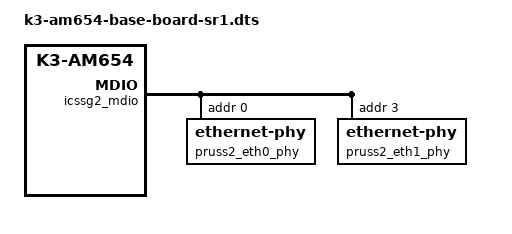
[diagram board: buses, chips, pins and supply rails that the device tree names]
// SPDX-License-Identifier: GPL-2.0
/*
 * Copyright (C) 2020 Texas Instruments Incorporated - http://www.ti.com/
 */
#include "k3-am654-base-board.dts"
#include "k3-am654-base-board-u-boot.dtsi"

/ {
	/* Dual Ethernet application node on PRU-ICSSG2 */
	pruss2_eth: pruss2_eth {
		compatible = "ti,am654-icssg-prueth";
		pinctrl-names = "default";
		pinctrl-0 = <&icssg2_rgmii_pins_default>;
		sram = <&icssg2_sram>;
		clocks = <&k3_clks 64 3>;
		clock-names = "mdio_fck";
		u-boot,dm-spl;

		prus = <&pru2_0>, <&rtu2_0>, <&pru2_1>, <&rtu2_1>;
		firmware-name = "ti-pruss/am65x-pru0-prueth-fw.elf",
				"ti-pruss/am65x-rtu0-prueth-fw.elf",
				"ti-pruss/am65x-pru1-prueth-fw.elf",
				"ti-pruss/am65x-rtu1-prueth-fw.elf";
		mii-g-rt = <&icssg2_mii_g_rt>;
		mii-rt = <&icssg2_mii_rt>;
		dma-coherent;
		dmas = <&mcu_udmap &icssg2 0 UDMA_DIR_TX>,	/* egress slice 0 */
		       <&mcu_udmap &icssg2 1 UDMA_DIR_TX>, /* egress slice 0 */
		       <&mcu_udmap &icssg2 2 UDMA_DIR_TX>, /* egress slice 0 */
		       <&mcu_udmap &icssg2 3 UDMA_DIR_TX>, /* mgmnt cmd slice 0 */
		       <&mcu_udmap &icssg2 4 UDMA_DIR_TX>, /* egress slice 1 */
		       <&mcu_udmap &icssg2 5 UDMA_DIR_TX>, /* egress slice 1 */
		       <&mcu_udmap &icssg2 6 UDMA_DIR_TX>, /* egress slice 1 */
		       <&mcu_udmap &icssg2 7 UDMA_DIR_TX>, /* mgmnt cmd slice 1 */

		       <&mcu_udmap &icssg2 0 UDMA_DIR_RX>, /* ingress slice 0 */
		       <&mcu_udmap &icssg2 1 UDMA_DIR_RX>, /* ingress slice 1 */
		       <&mcu_udmap &icssg2 2 UDMA_DIR_RX>, /* mgmnt rsp slice 0 */
		       <&mcu_udmap &icssg2 3 UDMA_DIR_RX>; /* mgmnt rsp slice 1 */
		dma-names = "tx0-0", "tx0-1", "tx0-2", "tx0-3",
			    "tx1-0", "tx1-1", "tx1-2", "tx1-3",
			    "rx0", "rx1",
			    "rxmgm0", "rxmgm1";

		pruss2_emac0: ethernet-mii0 {
			phy-handle = <&pruss2_eth0_phy>;
			phy-mode = "rgmii-rxid";
			syscon-rgmii-delay = <&scm_conf 0x4120>;
			/* Filled in by bootloader */
			local-mac-address = [00 00 00 00 00 00];
		};

/*
 * Commenting out the second mii interface as the framework
 * supports one interface in a single probe
 * So either mii1 or mii2 can be used. In case mii1 is needed
 * uncomment mii1 and comment out mii0
		pruss2_emac1: ethernet-mii1 {
			phy-handle = <&pruss2_eth1_phy>;
			phy-mode = "rgmii-rxid";
			syscon-rgmii-delay = <&scm_conf 0x4124>;
			local-mac-address = [00 00 00 00 00 00];
		};
*/
	};
};

&main_pmx0 {
	icssg2_rgmii_pins_default: icssg2_rgmii_pins_default {
		pinctrl-single,pins = <
			AM65X_IOPAD(0x00ac, PIN_INPUT , 2) /* (AH15) PRG2_PRU1_GPO0.PRG2_RGMII2_RD0 */
			AM65X_IOPAD(0x00b0, PIN_INPUT , 2) /* (AC16) PRG2_PRU1_GPO1.PRG2_RGMII2_RD1 */
			AM65X_IOPAD(0x00b4, PIN_INPUT , 2) /* (AD17) PRG2_PRU1_GPO2.PRG2_RGMII2_RD2 */
			AM65X_IOPAD(0x00b8, PIN_INPUT , 2) /* (AH14) PRG2_PRU1_GPO3.PRG2_RGMII2_RD3 */
			AM65X_IOPAD(0x00cc, PIN_OUTPUT , 2) /* (AD15) PRG2_PRU1_GPO8.PRG2_RGMII2_TD0 */
			AM65X_IOPAD(0x00d0, PIN_OUTPUT , 2) /* (AF14) PRG2_PRU1_GPO9.PRG2_RGMII2_TD1 */
			AM65X_IOPAD(0x00d4, PIN_OUTPUT , 2) /* (AC15) PRG2_PRU1_GPO10.PRG2_RGMII2_TD2 */
			AM65X_IOPAD(0x00d8, PIN_OUTPUT , 2) /* (AD14) PRG2_PRU1_GPO11.PRG2_RGMII2_TD3 */
			AM65X_IOPAD(0x00dc, PIN_INPUT , 2) /* (AE14) PRG2_PRU1_GPO16.PRG2_RGMII2_TXC */
			AM65X_IOPAD(0x00c4, PIN_OUTPUT , 2) /* (AC17) PRG2_PRU1_GPO6.PRG2_RGMII2_TX_CTL */
			AM65X_IOPAD(0x00c0, PIN_INPUT , 2) /* (AG15) PRG2_PRU1_GPO5.PRG2_RGMII2_RXC */
			AM65X_IOPAD(0x00bc, PIN_INPUT , 2) /* (AG14) PRG2_PRU1_GPO4.PRG2_RGMII2_RX_CTL */

			AM65X_IOPAD(0x0078, PIN_INPUT , 2) /* (AF18) PRG2_PRU0_GPO0.PRG2_RGMII1_RD0 */
			AM65X_IOPAD(0x007c, PIN_INPUT , 2) /* (AE18) PRG2_PRU0_GPO1.PRG2_RGMII1_RD1 */
			AM65X_IOPAD(0x0080, PIN_INPUT , 2) /* (AH17) PRG2_PRU0_GPO2.PRG2_RGMII1_RD2 */
			AM65X_IOPAD(0x0084, PIN_INPUT , 2) /* (AG18) PRG2_PRU0_GPO3.PRG2_RGMII1_RD3 */
			AM65X_IOPAD(0x0098, PIN_OUTPUT , 2) /* (AH16) PRG2_PRU0_GPO8.PRG2_RGMII1_TD0 */
			AM65X_IOPAD(0x009c, PIN_OUTPUT , 2) /* (AG16) PRG2_PRU0_GPO9.PRG2_RGMII1_TD1 */
			AM65X_IOPAD(0x00a0, PIN_OUTPUT , 2) /* (AF16) PRG2_PRU0_GPO10.PRG2_RGMII1_TD2 */
			AM65X_IOPAD(0x00a4, PIN_OUTPUT , 2) /* (AE16) PRG2_PRU0_GPO11.PRG2_RGMII1_TD3 */
			AM65X_IOPAD(0x00a8, PIN_INPUT , 2) /* (AD16) PRG2_PRU0_GPO16.PRG2_RGMII1_TXC */
			AM65X_IOPAD(0x0090, PIN_OUTPUT , 2) /* (AE17) PRG2_PRU0_GPO6.PRG2_RGMII1_TX_CTL */
			AM65X_IOPAD(0x008c, PIN_INPUT , 2) /* (AF17) PRG2_PRU0_GPO5.PRG2_RGMII1_RXC */
			AM65X_IOPAD(0x0088, PIN_INPUT , 2) /* (AG17) PRG2_PRU0_GPO4.PRG2_RGMII1_RX_CTL */
			/* HACK to get MDIO Pins in the right state */
			AM65X_IOPAD(0x0094, PIN_INPUT , 2) /* (AC19) PRG2_PRU0_GPO7.PRG2_MDIO0_MDIO */
			AM65X_IOPAD(0x00c8, PIN_OUTPUT , 2) /* (AE15) PRG2_PRU1_GPO7.PRG2_MDIO0_MDC */
		>;
		u-boot,dm-spl;
	};

	icssg2_mdio_pins_default: icssg2_mdio_pins_default {
		pinctrl-single,pins = <
			AM65X_IOPAD(0x0094, PIN_INPUT , 2) /* (AC19) PRG2_PRU0_GPO7.PRG2_MDIO0_MDIO */
			AM65X_IOPAD(0x00c8, PIN_OUTPUT , 2) /* (AE15) PRG2_PRU1_GPO7.PRG2_MDIO0_MDC */
		>;
		u-boot,dm-spl;
	};
};

&icssg2_mdio{
	status = "okay";
	pinctrl-names = "default";
	pinctrl-0 = <&icssg2_mdio_pins_default>;

	pruss2_eth0_phy: ethernet-phy@0 {
		reg = <0>;
		ti,rx-internal-delay = <DP83867_RGMIIDCTL_2_00_NS>;
		ti,fifo-depth = <DP83867_PHYCR_FIFO_DEPTH_4_B_NIB>;
	};

	pruss2_eth1_phy: ethernet-phy@3 {
		reg = <3>;
		ti,rx-internal-delay = <DP83867_RGMIIDCTL_2_00_NS>;
		ti,fifo-depth = <DP83867_PHYCR_FIFO_DEPTH_4_B_NIB>;
	};
};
